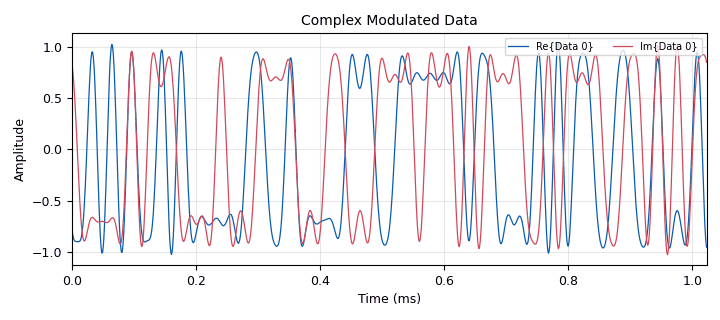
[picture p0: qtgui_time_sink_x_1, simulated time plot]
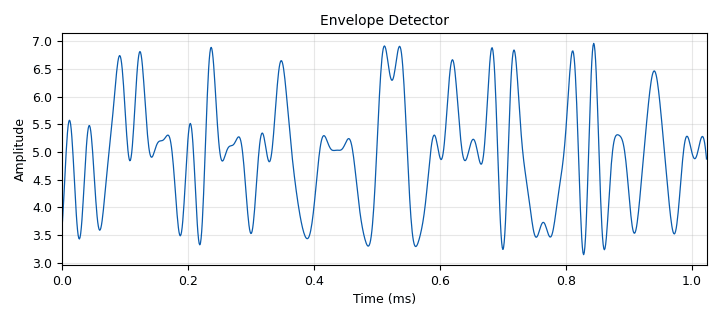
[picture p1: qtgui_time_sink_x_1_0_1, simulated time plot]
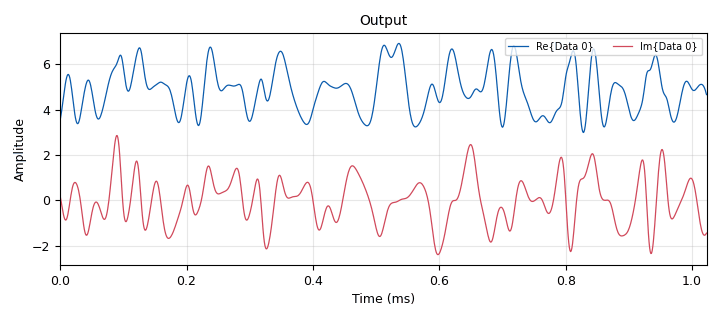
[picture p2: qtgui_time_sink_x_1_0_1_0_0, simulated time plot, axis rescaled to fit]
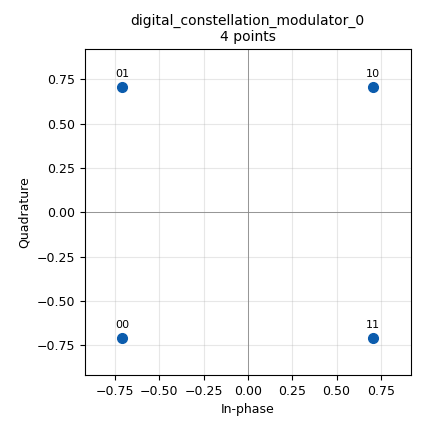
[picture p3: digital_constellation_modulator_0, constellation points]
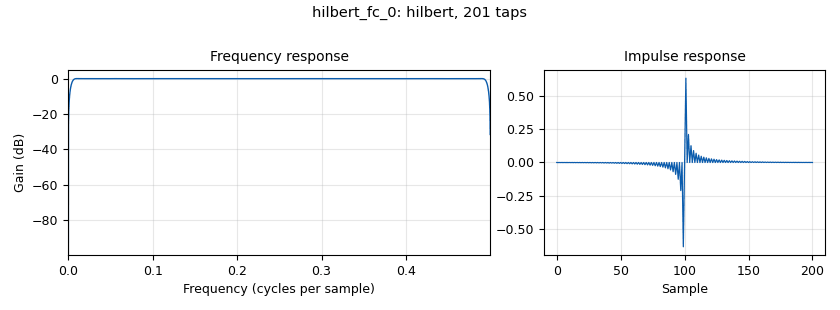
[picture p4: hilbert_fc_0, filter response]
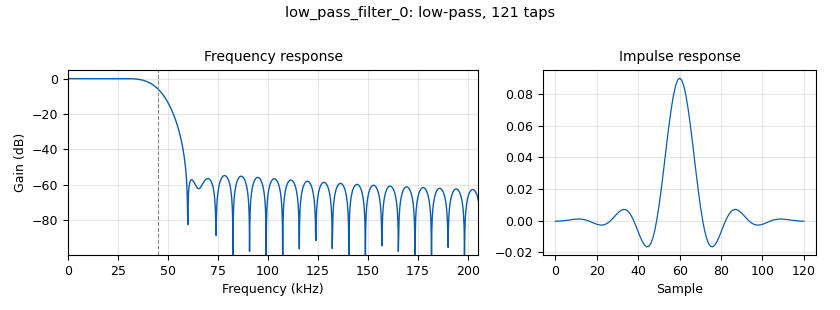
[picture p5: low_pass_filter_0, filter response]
options:
  parameters:
    author: jason
    generate_options: qt_gui
    id: lesson21_QPSK_modem
    output_language: python
    title: lesson21_QPSK_modem
  states: {}

blocks:
- name: alpha
  id: variable
  parameters:
    value: '0.50'
  states: {}
- name: carrier_bias
  id: variable_qtgui_range
  parameters:
    label: carrier_bias
    start: '0'
    step: '0.2'
    stop: '100'
    value: '5'
  states: {}
- name: carrier_freq
  id: variable_qtgui_range
  parameters:
    label: carrier_freq
    start: '0'
    step: samp_rate/100
    stop: samp_rate/2
    value: '5'
  states: {}
- name: constellation
  id: variable_constellation
  parameters:
    const_points: '[-1-1j, -1+1j, 1+1j, 1-1j]'
    dims: '1'
    normalization: digital.constellation.AMPLITUDE_NORMALIZATION
    precision: '8'
    rot_sym: '4'
    sym_map: '[0, 1, 2, 3]'
    type: calcdist
  states: {}
- name: lpf_cutoff
  id: variable_qtgui_range
  parameters:
    label: lpf_cutoff
    start: samp_rate/100
    step: samp_rate/100
    stop: samp_rate/2
    value: '45000'
  states: {}
- name: samp_rate
  id: variable
  parameters:
    value: 1e6
  states: {}
- name: sps
  id: variable
  parameters:
    value: '16'
  states: {}
- name: analog_random_source_x_0
  id: analog_random_source_x
  parameters:
    max: '256'
    min: '0'
    num_samps: 1024//8
    repeat: 'True'
    type: byte
  states: {}
- name: analog_sig_source_x_0
  id: analog_sig_source_x
  parameters:
    amp: '1'
    freq: carrier_freq
    offset: '0'
    phase: '0'
    samp_rate: samp_rate
    type: complex
    waveform: analog.GR_COS_WAVE
  states: {}
- name: analog_sig_source_x_0_0
  id: analog_sig_source_x
  parameters:
    amp: '1'
    freq: carrier_freq
    offset: '0'
    phase: '0'
    samp_rate: samp_rate
    type: complex
    waveform: analog.GR_SIN_WAVE
  states: {}
- name: blocks_abs_xx_0
  id: blocks_abs_xx
  parameters:
    type: float
  states: {}
- name: blocks_add_const_vxx_0
  id: blocks_add_const_vxx
  parameters:
    const: carrier_bias
    type: complex
  states: {}
- name: blocks_add_const_vxx_0_0
  id: blocks_add_const_vxx
  parameters:
    const: '-carrier_bias'
    type: complex
  states: {state: bypassed}
- name: blocks_add_xx_0
  id: blocks_add_xx
  parameters:
    type: float
  states: {}
- name: blocks_add_xx_1
  id: blocks_add_xx
  parameters:
    type: complex
  states: {}
- name: blocks_char_to_float_0
  id: blocks_char_to_float
  parameters:
    scale: '1'
  states: {state: disabled}
- name: blocks_complex_to_imag_0
  id: blocks_complex_to_imag
  parameters: {}
  states: {state: disabled}
- name: blocks_complex_to_imag_1
  id: blocks_complex_to_imag
  parameters: {}
  states: {}
- name: blocks_complex_to_real_0
  id: blocks_complex_to_real
  parameters: {}
  states: {state: disabled}
- name: blocks_complex_to_real_1
  id: blocks_complex_to_real
  parameters: {}
  states: {}
- name: blocks_magphase_to_complex_0
  id: blocks_magphase_to_complex
  parameters: {}
  states: {}
- name: blocks_multiply_const_vxx_0
  id: blocks_multiply_const_vxx
  parameters:
    const: '0.5'
    type: float
  states: {}
- name: blocks_multiply_const_vxx_1
  id: blocks_multiply_const_vxx
  parameters:
    const: 1j
    type: complex
  states: {}
- name: blocks_multiply_xx_0
  id: blocks_multiply_xx
  parameters:
    type: complex
  states: {}
- name: blocks_sub_xx_0
  id: blocks_sub_xx
  parameters:
    type: float
  states: {state: disabled}
- name: blocks_throttle_0
  id: blocks_throttle
  parameters:
    samples_per_second: samp_rate/10
    type: byte
  states: {}
- name: blocks_transcendental_0
  id: blocks_transcendental
  parameters:
    name: log
    type: float
  states: {}
- name: blocks_transcendental_0_0
  id: blocks_transcendental
  parameters:
    name: exp
    type: complex_float
  states: {state: disabled}
- name: digital_constellation_modulator_0
  id: digital_constellation_modulator
  parameters:
    constellation: constellation
    differential: 'False'
    excess_bw: alpha
    samples_per_symbol: sps
  states: {}
- name: epy_block_0
  id: epy_block
  parameters:
    _source_code: |
      """
      Embedded Python Blocks:

      Each time this file is saved, GRC will instantiate the first class it finds
      to get ports and parameters of your block. The arguments to __init__  will
      be the parameters. All of them are required to have default values!
      """

      import numpy as np
      from gnuradio import gr


      class blk(gr.sync_block):  # other base classes are basic_block, decim_block, interp_block
          """Embedded Python Block example - a simple multiply const"""

          def __init__(self, ca_bias=1.0, example_param=1.0):  # only default arguments here
              """arguments to this function show up as parameters in GRC"""
              gr.sync_block.__init__(
                  self,
                  name='Embedded Python Block',   # will show up in GRC
                  in_sig=[np.complex64],
                  out_sig=[np.complex64]
              )
              # if an attribute with the same name as a parameter is found,
              # a callback is registered (properties work, too).
              self.example_param = example_param
              self.ca_bias = ca_bias

          def work(self, input_items, output_items):
              """example: multiply with constant"""
              output_items[0][:] = input_items[0] * self.example_param
              return len(output_items[0])
    ca_bias: ''
    example_param: ''
  states: {state: disabled}
- name: high_pass_filter_0
  id: high_pass_filter
  parameters:
    cutoff_freq: samp_rate/50
    decim: '1'
    gain: '1'
    samp_rate: samp_rate
    type: fir_filter_ccf
    width: samp_rate/100
    win: window.WIN_HAMMING
  states: {state: bypassed}
- name: hilbert_fc_0
  id: hilbert_fc
  parameters:
    num_taps: '200'
  states: {}
- name: import_0
  id: import
  parameters:
    imports: import math
  states: {}
- name: low_pass_filter_0
  id: low_pass_filter
  parameters:
    cutoff_freq: lpf_cutoff
    decim: '1'
    gain: '1'
    samp_rate: samp_rate
    type: fir_filter_fff
    width: samp_rate/50
    win: window.WIN_HAMMING
  states: {}
- name: note_0
  id: note
  parameters:
    note: Only the real part is transmitted....
  states: {}
- name: note_0_0
  id: note
  parameters:
    note: HPF for blocking DC
  states: {}
- name: note_1
  id: note
  parameters: {}
  states: {}
- name: note_2
  id: note
  parameters:
    note: Complex carrier
  states: {}
- name: qtgui_time_sink_x_0
  id: qtgui_time_sink_x
  parameters:
    name: '"Input Random Number"'
    size: '1024'
    srate: samp_rate/10
    type: float
  states: {state: disabled}
- name: qtgui_time_sink_x_1
  id: qtgui_time_sink_x
  parameters:
    autoscale: 'True'
    grid: 'True'
    name: '"Complex Modulated Data"'
    size: '1024'
    srate: samp_rate
    type: complex
  states: {}
- name: qtgui_time_sink_x_1_0
  id: qtgui_time_sink_x
  parameters:
    autoscale: 'True'
    grid: 'True'
    name: '"Complex Upconverted Data with baseband DC bias"'
    size: '1024'
    srate: samp_rate
    type: complex
  states: {state: disabled}
- name: qtgui_time_sink_x_1_0_0
  id: qtgui_time_sink_x
  parameters:
    name: '"Complex Upconverted Data with baeband DC bias"'
    nconnections: '2'
    size: '1024'
    srate: samp_rate
    type: float
  states: {state: disabled}
- name: qtgui_time_sink_x_1_0_1
  id: qtgui_time_sink_x
  parameters:
    autoscale: 'True'
    grid: 'True'
    name: '"Envelope Detector"'
    size: '1024'
    srate: samp_rate
    type: float
  states: {}
- name: qtgui_time_sink_x_1_0_1_0
  id: qtgui_time_sink_x
  parameters:
    autoscale: 'True'
    grid: 'True'
    name: '"Log Envelope"'
    size: '1024'
    srate: samp_rate
    type: float
  states: {state: disabled}
- name: qtgui_time_sink_x_1_0_1_0_0
  id: qtgui_time_sink_x
  parameters:
    grid: 'True'
    name: '"Output"'
    size: '1024'
    srate: samp_rate
    type: complex
  states: {}
- name: qtgui_time_sink_x_1_0_1_1
  id: qtgui_time_sink_x
  parameters:
    autoscale: 'True'
    grid: 'True'
    name: '"difference"'
    size: '1024'
    srate: samp_rate
    type: float
  states: {state: disabled}
- name: qtgui_time_sink_x_1_1
  id: qtgui_time_sink_x
  parameters:
    grid: 'True'
    name: '"Carrier"'
    size: '1024'
    srate: samp_rate
    type: complex
  states: {state: disabled}

connections:
- [analog_random_source_x_0, '0', blocks_throttle_0, '0']
- [analog_sig_source_x_0, '0', blocks_add_xx_1, '1']
- [analog_sig_source_x_0_0, '0', blocks_multiply_const_vxx_1, '0']
- [blocks_abs_xx_0, '0', blocks_add_xx_0, '1']
- [blocks_add_const_vxx_0, '0', blocks_multiply_xx_0, '1']
- [blocks_add_const_vxx_0_0, '0', high_pass_filter_0, '0']
- [blocks_add_xx_0, '0', blocks_multiply_const_vxx_0, '0']
- [blocks_add_xx_1, '0', blocks_multiply_xx_0, '0']
- [blocks_add_xx_1, '0', qtgui_time_sink_x_1_1, '0']
- [blocks_char_to_float_0, '0', qtgui_time_sink_x_0, '0']
- [blocks_complex_to_imag_0, '0', qtgui_time_sink_x_1_0_0, '1']
- [blocks_complex_to_imag_1, '0', blocks_magphase_to_complex_0, '1']
- [blocks_complex_to_real_0, '0', qtgui_time_sink_x_1_0_0, '0']
- [blocks_complex_to_real_1, '0', blocks_abs_xx_0, '0']
- [blocks_complex_to_real_1, '0', blocks_add_xx_0, '0']
- [blocks_magphase_to_complex_0, '0', blocks_add_const_vxx_0_0, '0']
- [blocks_multiply_const_vxx_0, '0', low_pass_filter_0, '0']
- [blocks_multiply_const_vxx_1, '0', blocks_add_xx_1, '0']
- [blocks_multiply_xx_0, '0', blocks_complex_to_imag_0, '0']
- [blocks_multiply_xx_0, '0', blocks_complex_to_real_0, '0']
- [blocks_multiply_xx_0, '0', blocks_complex_to_real_1, '0']
- [blocks_multiply_xx_0, '0', qtgui_time_sink_x_1_0, '0']
- [blocks_sub_xx_0, '0', qtgui_time_sink_x_1_0_1_1, '0']
- [blocks_throttle_0, '0', blocks_char_to_float_0, '0']
- [blocks_throttle_0, '0', digital_constellation_modulator_0, '0']
- [blocks_transcendental_0, '0', hilbert_fc_0, '0']
- [blocks_transcendental_0, '0', qtgui_time_sink_x_1_0_1_0, '0']
- [blocks_transcendental_0_0, '0', blocks_add_const_vxx_0_0, '0']
- [digital_constellation_modulator_0, '0', blocks_add_const_vxx_0, '0']
- [digital_constellation_modulator_0, '0', qtgui_time_sink_x_1, '0']
- [high_pass_filter_0, '0', qtgui_time_sink_x_1_0_1_0_0, '0']
- [hilbert_fc_0, '0', blocks_complex_to_imag_1, '0']
- [hilbert_fc_0, '0', blocks_transcendental_0_0, '0']
- [low_pass_filter_0, '0', blocks_magphase_to_complex_0, '0']
- [low_pass_filter_0, '0', blocks_sub_xx_0, '0']
- [low_pass_filter_0, '0', blocks_transcendental_0, '0']
- [low_pass_filter_0, '0', qtgui_time_sink_x_1_0_1, '0']

metadata:
  file_format: 1
